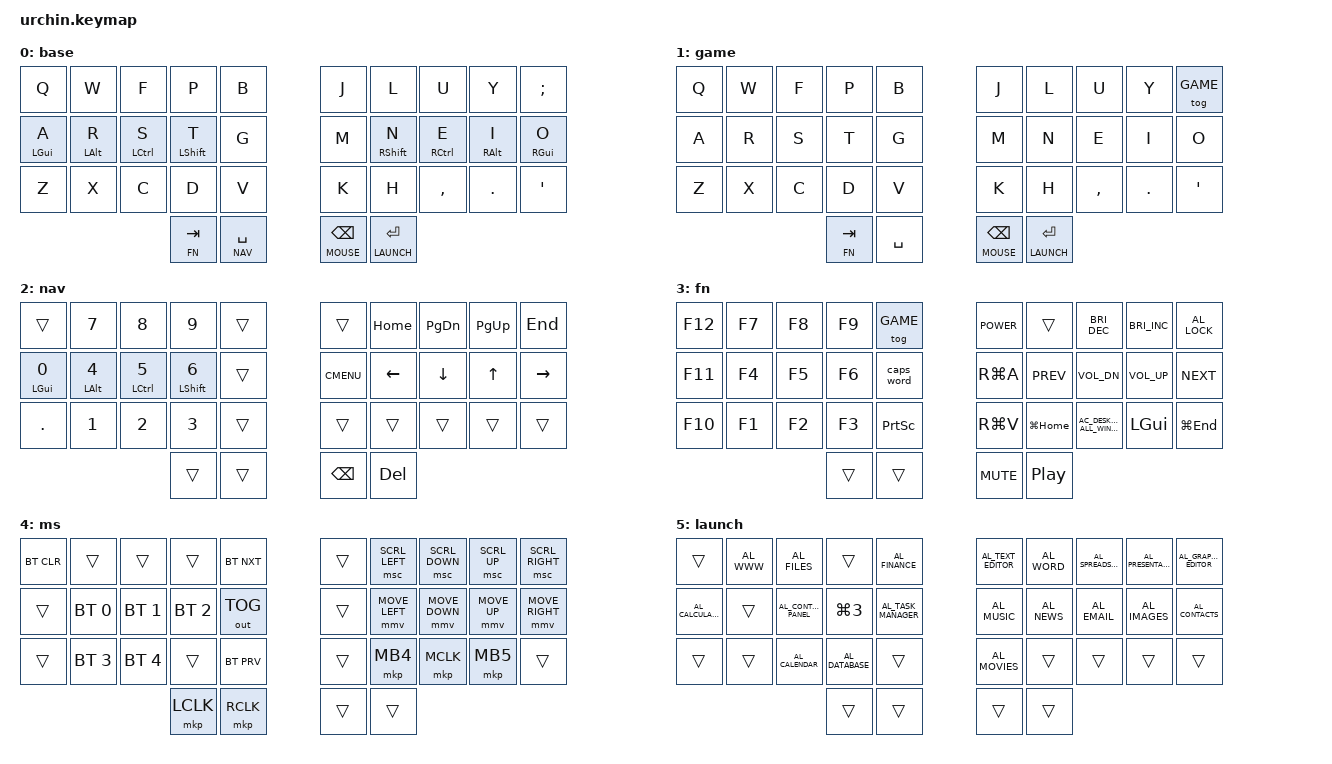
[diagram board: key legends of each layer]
/*
 *
 *     ███████╗████████╗██████╗  █████╗ ████████╗ █████╗ 
 *     ██╔════╝╚══██╔══╝██╔══██╗██╔══██╗╚══██╔══╝██╔══██╗
 *     ███████╗   ██║   ██████╔╝███████║   ██║   ███████║
 *     ╚════██║   ██║   ██╔══██╗██╔══██║   ██║   ██╔══██║
 *     ███████║   ██║   ██║  ██║██║  ██║   ██║   ██║  ██║
 *     ╚══════╝   ╚═╝   ╚═╝  ╚═╝╚═╝  ╚═╝   ╚═╝   ╚═╝  ╚═╝
 *
 * A highly personalised ZMK keymap for a split 34-key keyboard.
 *
 *              ╭───╮                      ╭───╮          
 *          ╭───┤ F ├───╮              ╭───┤ U ├───╮      
 *      ╭───┤ W ├───┤ P ├───╮      ╭───┤ L ├───┤ Y ├───╮  
 *      │ Q ├───┤ S ├───┤ B │      │ J ├───┤ E ├───┤ ; │  
 *      ├───┤ S ├───┤ T ├───┤      ├───┤ N ├───┤ I ├───┤  
 *      │ A ├───┤ C ├───┤ G │      │ M ├───┤ , ├───┤ O │  
 *      ├───┤ X ├───┤ D ├───┤      ├───┤ H ├───┤ . ├───┤  
 *      │ A ├───╯   ╰───┤ V │      │ K ├───╯   ╰───┤ ' │  
 *      ╰───╯           ╰───┘      ╰───╯           ╰───╯  
 *                    ╭───╮          ╭───╮                
 *                    │ 󰌒 ├───╮  ╭───┤ 󰌑 │                
 *                    ╰───┤ 󱁐 │  │ 󰭜 ├───╯                
 *                        ╰───╯  ╰───╯                    
 *
 * This keymap was developed for use on the Ferris Sweep; however,
 * any 34-key keyboard should be able to use this same keymap with
 * only a few small tweaks to the configuration.
 *
 */


#include <behaviors.dtsi>
#include <dt-bindings/zmk/bt.h>
#include <dt-bindings/zmk/keys.h>
#include <dt-bindings/zmk/outputs.h>
#include <dt-bindings/zmk/pointing.h>
#include <dt-bindings/zmk/mouse.h>
#include "zmk-helpers/helper.h"
#include "zmk-helpers/key-labels/34.h"


// Layer definitions
// =================
#define BASE 0
#define GAME 1
#define NAV 2
#define FN 3
#define MOUSE 4
#define LAUNCH 5


/* Key labels
 * ==========
 * ╭─────────────────────╮ ╭─────────────────────╮
 * │ LT4 LT3 LT2 LT1 LT0 │ │ RT0 RT1 RT2 RT3 RT4 │
 * │ LM4 LM3 LM2 LM1 LM0 │ │ RM0 RM1 RM2 RM3 RM4 │
 * │ LB4 LB3 LB2 LB1 LB0 │ │ RB0 RB1 RB2 RB3 RB4 │
 * ╰───────────╮ LH1 LH0 │ │ RH0 RH1 ╭───────────╯
 *             ╰─────────╯ ╰─────────╯
 */


// Custom behaviours
// =================
#define KEYS_LEFT LT0 LT1 LT2 LT3 LT4 LM0 LM1 LM2 LM3 LM4 LB0 LB1 LB2 LB3 LB4   // left hand
#define KEYS_RIGHT RT0 RT1 RT2 RT3 RT4 RM0 RM1 RM2 RM3 RM4 RB0 RB1 RB2 RB3 RB4  // right hand
#define KEYS_THUMBS LH1 LH0 RH0 RH1                                             // thumb clusters

#define MAKE_HRM(NAME, HOLD, TAP, TRIGGER_POS) \
    ZMK_HOLD_TAP(NAME, \
        bindings = <HOLD>, <TAP>; \
        tapping-term-ms = <200>; \
        quick-tap-ms = <200>; \
        require-prior-idle-ms = <125>; \
        flavor = "balanced"; \
        hold-trigger-key-positions = <TRIGGER_POS>; \
        hold-trigger-on-release; \
    )

MAKE_HRM(hrml, &kp, &kp, KEYS_RIGHT KEYS_THUMBS)  // left-hand HRMs
MAKE_HRM(hrmr, &kp, &kp, KEYS_LEFT KEYS_THUMBS)   // right-hand HRMs

// HRM combo hack - workaround for lack of tap-only combos (ZMK issue #544)
#define HRM_COMBO(NAME, HOLD, TAP, KEYPOS, LAYERS, COMBO_TERM, COMBO_IDLE, HOLD_TRIGGER_POS) \
    MAKE_HRM(hrm_combo_ ## NAME, &kp, &kp, HOLD_TRIGGER_POS) \
    ZMK_COMBO(NAME, &hrm_combo_ ## NAME HOLD TAP, KEYPOS, LAYERS, COMBO_TERM, COMBO_IDLE)


// Combo definitions
// =================
// NOTE: This section MUST be AFTER the home row mod hack above

// All the keys in `key-positions` must be pressed within `timeout-ms` milliseconds to trigger the
// combo.
#define COMBO_TIMEOUT_FAST 30
#define COMBO_TIMEOUT_SLOW 60

// If any non-modifier key is pressed within `require-prior-idle-ms` before a key in the combo, the
// combo will not trigger.
#define COMBO_IDLE_LONG 150
#define COMBO_IDLE_SHORT 50

/* Left - Split combos
 *   Copy        󰈆  Escape        Paste
 * ┌─┬▄┬─┬▄┬─┐    ┌─┬─┬─┬─┬─┐    ┌─┬─┬─┬─┬─┐
 * ├─┼▀┼─┼▀┼─┤    ├─┼▄┼─┼▄┼─┤    ├─┼─┼─┼─┼─┤
 * ├─┼─┼─┼─┼─┤    ├─┼▀┼─┼▀┼─┤    ├─┼▄┼─┼▄┼─┤
 * └─┴─┴─┴─┴─┘    └─┴─┴─┴─┴─┘    └─┴▀┴─┴▀┴─┘
 *        ┌─┬─┐          ┌─┬─┐          ┌─┬─┐
 *        └─┴─┘          └─┴─┘          └─┴─┘
 */
ZMK_COMBO(copy, &kp C_AC_COPY, LT1 LT3, ALL, COMBO_TIMEOUT_SLOW, COMBO_IDLE_SHORT)
ZMK_COMBO(paste, &kp C_AC_PASTE, LB1 LB3, ALL, COMBO_TIMEOUT_SLOW, COMBO_IDLE_SHORT)
HRM_COMBO(escape, LS(LALT), ESCAPE, LM1 LM3, ALL, COMBO_TIMEOUT_SLOW, COMBO_IDLE_SHORT, KEYS_RIGHT)

/* Left - Horizontal combos
 * ~ Tilde        ` Grave        _ Underscore   - Minus        + Plus         = Equal    
 * ┌─┬▄┬▄┬─┬─┐    ┌─┬─┬▄┬▄┬─┐    ┌─┬─┬─┬─┬─┐    ┌─┬─┬─┬─┬─┐    ┌─┬─┬─┬─┬─┐    ┌─┬─┬─┬─┬─┐ 
 * ├─┼▀┼▀┼─┼─┤    ├─┼─┼▀┼▀┼─┤    ├─┼▄┼▄┼─┼─┤    ├─┼─┼▄┼▄┼─┤    ├─┼─┼─┼─┼─┤    ├─┼─┼─┼─┼─┤ 
 * ├─┼─┼─┼─┼─┤    ├─┼─┼─┼─┼─┤    ├─┼▀┼▀┼─┼─┤    ├─┼─┼▀┼▀┼─┤    ├─┼▄┼▄┼─┼─┤    ├─┼─┼▄┼▄┼─┤ 
 * └─┴─┴─┴─┴─┘    └─┴─┴─┴─┴─┘    └─┴─┴─┴─┴─┘    └─┴─┴─┴─┴─┘    └─┴▀┴▀┴─┴─┘    └─┴─┴▀┴▀┴─┘ 
 *        ┌─┬─┐          ┌─┬─┐          ┌─┬─┐          ┌─┬─┐          ┌─┬─┐          ┌─┬─┐
 *        └─┴─┘          └─┴─┘          └─┴─┘          └─┴─┘          └─┴─┘          └─┴─┘
 */
ZMK_COMBO(tilde, &kp TILDE, LT2 LT3, BASE NAV GAME, COMBO_TIMEOUT_FAST, COMBO_IDLE_LONG)
ZMK_COMBO(grave, &kp GRAVE, LT1 LT2, BASE NAV GAME, COMBO_TIMEOUT_FAST, COMBO_IDLE_LONG)
ZMK_COMBO(plus, &kp PLUS, LB2 LB3, BASE NAV GAME, COMBO_TIMEOUT_FAST, COMBO_IDLE_LONG)
ZMK_COMBO(equal, &kp EQUAL, LB1 LB2, BASE NAV GAME, COMBO_TIMEOUT_FAST, COMBO_IDLE_LONG)
HRM_COMBO(underscore, LC(LALT), UNDERSCORE, LM2 LM3, BASE NAV GAME, COMBO_TIMEOUT_FAST, COMBO_IDLE_LONG, KEYS_RIGHT)
HRM_COMBO(minus, LS(LCTRL), MINUS, LM1 LM2, BASE NAV GAME, COMBO_TIMEOUT_FAST, COMBO_IDLE_LONG, KEYS_RIGHT)

/* Left - Vertical combos
 * # Hash         $ Dollar       ? Question     / Fslash       ! Exclamation  @ At    
 * ┌─┬─┬─┬▄┬─┐    ┌─┬─┬─┬─┬─┐    ┌─┬─┬▄┬─┬─┐    ┌─┬─┬─┬─┬─┐    ┌─┬▄┬─┬─┬─┐    ┌─┬─┬─┬─┬─┐ 
 * ├─┼─┼─┼█┼─┤    ├─┼─┼─┼▄┼─┤    ├─┼─┼█┼─┼─┤    ├─┼─┼▄┼─┼─┤    ├─┼█┼─┼─┼─┤    ├─┼▄┼─┼─┼─┤ 
 * ├─┼─┼─┼▀┼─┤    ├─┼─┼─┼█┼─┤    ├─┼─┼▀┼─┼─┤    ├─┼─┼█┼─┼─┤    ├─┼▀┼─┼─┼─┤    ├─┼█┼─┼─┼─┤ 
 * └─┴─┴─┴─┴─┘    └─┴─┴─┴▀┴─┘    └─┴─┴─┴─┴─┘    └─┴─┴▀┴─┴─┘    └─┴─┴─┴─┴─┘    └─┴▀┴─┴─┴─┘ 
 *        ┌─┬─┐          ┌─┬─┐          ┌─┬─┐          ┌─┬─┐          ┌─┬─┐          ┌─┬─┐
 *        └─┴─┘          └─┴─┘          └─┴─┘          └─┴─┘          └─┴─┘          └─┴─┘
 */
ZMK_COMBO(exclamation, &kp EXCLAMATION, LM3 LT3, BASE NAV GAME, COMBO_TIMEOUT_SLOW, COMBO_IDLE_SHORT)
ZMK_COMBO(question, &kp QUESTION, LM2 LT2, BASE NAV GAME, COMBO_TIMEOUT_SLOW, COMBO_IDLE_SHORT)
ZMK_COMBO(hash, &kp HASH, LM1 LT1, BASE NAV GAME, COMBO_TIMEOUT_SLOW, COMBO_IDLE_SHORT)
ZMK_COMBO(at, &kp AT, LB3 LM3, BASE NAV GAME, COMBO_TIMEOUT_SLOW, COMBO_IDLE_SHORT)
ZMK_COMBO(fslash, &kp FSLH, LB2 LM2, BASE NAV GAME, COMBO_TIMEOUT_SLOW, COMBO_IDLE_SHORT)
ZMK_COMBO(dollar, &kp DOLLAR, LB1 LM1, BASE NAV GAME, COMBO_TIMEOUT_SLOW, COMBO_IDLE_SHORT)

/* Right - Split combos
 *   Cut            Undo          Redo
 *  ┌─┬▄┬─┬▄┬─┐    ┌─┬─┬─┬─┬─┐    ┌─┬─┬─┬─┬─┐
 *  ├─┼▀┼─┼▀┼─┤    ├─┼▄┼─┼▄┼─┤    ├─┼─┼─┼─┼─┤
 *  ├─┼─┼─┼─┼─┤    ├─┼▀┼─┼▀┼─┤    ├─┼▄┼─┼▄┼─┤
 *  └─┴─┴─┴─┴─┘    └─┴─┴─┴─┴─┘    └─┴▀┴─┴▀┴─┘
 * ┌─┬─┐          ┌─┬─┐          ┌─┬─┐
 * └─┴─┘          └─┴─┘          └─┴─┘
 */
ZMK_COMBO(cut, &kp C_AC_CUT, RT1 RT3, ALL, COMBO_TIMEOUT_SLOW, COMBO_IDLE_SHORT)
ZMK_COMBO(redo, &kp C_AC_REDO, RB1 RB3, ALL, COMBO_TIMEOUT_SLOW, COMBO_IDLE_SHORT)
HRM_COMBO(undo, RS(RALT), C_AC_UNDO, RM1 RM3, ALL, COMBO_TIMEOUT_SLOW, COMBO_IDLE_SHORT, KEYS_LEFT)

/* Right - Horizontal combos
 * [ L bracket    ] R bracket    ( L paren      ) R paren      { L curly      } R curly    
 *  ┌─┬▄┬▄┬─┬─┐    ┌─┬─┬▄┬▄┬─┐    ┌─┬─┬─┬─┬─┐    ┌─┬─┬─┬─┬─┐    ┌─┬─┬─┬─┬─┐    ┌─┬─┬─┬─┬─┐ 
 *  ├─┼▀┼▀┼─┼─┤    ├─┼─┼▀┼▀┼─┤    ├─┼▄┼▄┼─┼─┤    ├─┼─┼▄┼▄┼─┤    ├─┼─┼─┼─┼─┤    ├─┼─┼─┼─┼─┤ 
 *  ├─┼─┼─┼─┼─┤    ├─┼─┼─┼─┼─┤    ├─┼▀┼▀┼─┼─┤    ├─┼─┼▀┼▀┼─┤    ├─┼▄┼▄┼─┼─┤    ├─┼─┼▄┼▄┼─┤ 
 *  └─┴─┴─┴─┴─┘    └─┴─┴─┴─┴─┘    └─┴─┴─┴─┴─┘    └─┴─┴─┴─┴─┘    └─┴▀┴▀┴─┴─┘    └─┴─┴▀┴▀┴─┘ 
 * ┌─┬─┐          ┌─┬─┐          ┌─┬─┐          ┌─┬─┐          ┌─┬─┐          ┌─┬─┐
 * └─┴─┘          └─┴─┘          └─┴─┘          └─┴─┘          └─┴─┘          └─┴─┘
 */
ZMK_COMBO(lbracket,    &kp LEFT_BRACKET,      RT1 RT2,      BASE NAV GAME,  COMBO_TIMEOUT_FAST,  COMBO_IDLE_LONG)
ZMK_COMBO(rbracket,    &kp RIGHT_BRACKET,     RT2 RT3,      BASE NAV GAME,  COMBO_TIMEOUT_FAST,  COMBO_IDLE_LONG)
ZMK_COMBO(lbrace,      &kp LEFT_BRACE,        RB1 RB2,      BASE NAV GAME,  COMBO_TIMEOUT_FAST,  COMBO_IDLE_LONG)
ZMK_COMBO(rbrace,      &kp RIGHT_BRACE,       RB2 RB3,      BASE NAV GAME,  COMBO_TIMEOUT_FAST,  COMBO_IDLE_LONG)
HRM_COMBO(lpar,        RS(RCTRL), LPAR,       RM1 RM2,      BASE NAV GAME,  COMBO_TIMEOUT_FAST,  COMBO_IDLE_LONG,   KEYS_LEFT)
HRM_COMBO(rpar,        RC(RALT),  RPAR,       RM2 RM3,      BASE NAV GAME,  COMBO_TIMEOUT_FAST,  COMBO_IDLE_LONG,   KEYS_LEFT)

/* Right - Vertical combos
 * & Ampersand    * Asterisk     | Pipe         \ Bslash       % Percent      ^ Caret
 *  ┌─┬─┬─┬▄┬─┐    ┌─┬─┬─┬─┬─┐    ┌─┬─┬▄┬─┬─┐    ┌─┬─┬─┬─┬─┐    ┌─┬▄┬─┬─┬─┐    ┌─┬─┬─┬─┬─┐ 
 *  ├─┼─┼─┼█┼─┤    ├─┼─┼─┼▄┼─┤    ├─┼─┼█┼─┼─┤    ├─┼─┼▄┼─┼─┤    ├─┼█┼─┼─┼─┤    ├─┼▄┼─┼─┼─┤ 
 *  ├─┼─┼─┼▀┼─┤    ├─┼─┼─┼█┼─┤    ├─┼─┼▀┼─┼─┤    ├─┼─┼█┼─┼─┤    ├─┼▀┼─┼─┼─┤    ├─┼█┼─┼─┼─┤ 
 *  └─┴─┴─┴─┴─┘    └─┴─┴─┴▀┴─┘    └─┴─┴─┴─┴─┘    └─┴─┴▀┴─┴─┘    └─┴─┴─┴─┴─┘    └─┴▀┴─┴─┴─┘ 
 * ┌─┬─┐          ┌─┬─┐          ┌─┬─┐          ┌─┬─┐          ┌─┬─┐          ┌─┬─┐
 * └─┴─┘          └─┴─┘          └─┴─┘          └─┴─┘          └─┴─┘          └─┴─┘
 */
ZMK_COMBO(percent,     &kp PERCENT,           RT1 RM1,      BASE NAV GAME,  COMBO_TIMEOUT_SLOW,  COMBO_IDLE_SHORT)
ZMK_COMBO(pipe,        &kp PIPE,              RT2 RM2,      BASE NAV GAME,  COMBO_TIMEOUT_SLOW,  COMBO_IDLE_SHORT)
ZMK_COMBO(ampersand,   &kp AMPERSAND,         RT3 RM3,      BASE NAV GAME,  COMBO_TIMEOUT_SLOW,  COMBO_IDLE_SHORT)
ZMK_COMBO(caret,       &kp CARET,             RM1 RB1,      BASE NAV GAME,  COMBO_TIMEOUT_SLOW,  COMBO_IDLE_SHORT)
ZMK_COMBO(bslash,      &kp BSLH,              RM2 RB2,      BASE NAV GAME,  COMBO_TIMEOUT_SLOW,  COMBO_IDLE_SHORT)
ZMK_COMBO(asterisk,    &kp ASTERISK,          RM3 RB3,      BASE NAV GAME,  COMBO_TIMEOUT_SLOW,  COMBO_IDLE_SHORT)


// Mouse
// =====
#include "mouse.dtsi"


/*
 * Base Layer
 * ==========
 * ┌───┬───┬───┬───┬───┐      ┌───┬───┬───┬───┬───┐
 * │ Q │ W │ F │ P │ B │      │ J │ L │ U │ Y │ ; │
 * ├───┼───┼───┼───┼───┤      ├───┼───┼───┼───┼───┤
 * │ A │ R │ S │ T │ G │      │ M │ N │ E │ I │ O │
 * ├───┼───┼───┼───┼───┤      ├───┼───┼───┼───┼───┤
 * │ Z │ X │ C │ D │ V │      │ K │ H │ , │ . │ ' │
 * └───┴───┴───┴───┴───┘      └───┴───┴───┴───┴───┘
 *               ┌───┬───┐  ┌───┬───┐            
 *               │ 󰌒 │ 󱁐 │  │ 󰭜 │ 󰌑 │            
 *               └───┴───┘  └───┴───┘            
 */
ZMK_LAYER(base,
    &kp Q         &kp W         &kp F          &kp P           &kp B            &kp J                &kp L                 &kp U          &kp Y         &kp SEMI
    &hrml LGUI A  &hrml LALT R  &hrml LCTRL S  &hrml LSHIFT T  &kp G            &kp M                &hrmr RSHIFT N        &hrmr RCTRL E  &hrmr RALT I  &hrmr RGUI O
    &kp Z         &kp X         &kp C          &kp D           &kp V            &kp K                &kp H                 &kp COMMA      &kp DOT       &kp SQT
                                               &lt FN TAB      &lt NAV SPACE    &lt MOUSE BACKSPACE  &lt LAUNCH RETURN
)

/*
 * Game Layer
 * ==========
 * ┌───┬───┬───┬───┬───┐      ┌───┬───┬───┬───┬───┐
 * │ Q │ W │ F │ P │ B │      │ J │ L │ U │ Y │ 󰈆 │
 * ├───┼───┼───┼───┼───┤      ├───┼───┼───┼───┼───┤
 * │ A │ R │ S │ T │ G │      │ M │ N │ E │ I │ O │
 * ├───┼───┼───┼───┼───┤      ├───┼───┼───┼───┼───┤
 * │ Z │ X │ C │ D │ V │      │ K │ H │ , │ . │ ' │
 * └───┴───┴───┴───┴───┘      └───┴───┴───┴───┴───┘
 *               ┌───┬───┐  ┌───┬───┐            
 *               │ 󰌒 │ 󱁐 │  │ 󰭜 │ 󰌑 │            
 *               └───┴───┘  └───┴───┘            
 */
ZMK_LAYER(game,
    &kp Q  &kp W  &kp F  &kp P       &kp B        &kp J                &kp L              &kp U      &kp Y    &tog GAME
    &kp A  &kp R  &kp S  &kp T       &kp G        &kp M                &kp N              &kp E      &kp I    &kp O
    &kp Z  &kp X  &kp C  &kp D       &kp V        &kp K                &kp H              &kp COMMA  &kp DOT  &kp SQT
                         &lt FN TAB  &kp SPACE    &lt MOUSE BACKSPACE  &lt LAUNCH RETURN
)

/*
 * Navigation/Number Layer
 * =======================
 * ┌───┬───┬───┬───┬───┐      ┌───┬───┬───┬───┬───┐
 * │   │ 7 │ 8 │ 9 │   │      │   │  │  │  │  │
 * ├───┼───┼───┼───┼───┤      ├───┼───┼───┼───┼───┤
 * │ 0 │ 4 │ 5 │ 6 │   │      │ 󰮫 │  │  │  │  │
 * ├───┼───┼───┼───┼───┤      ├───┼───┼───┼───┼───┤
 * │ . │ 1 │ 2 │ 3 │   │      │   │   │   │   │   │
 * └───┴───┴───┴───┴───┘      └───┴───┴───┴───┴───┘
 *               ┌───┬───┐  ┌───┬───┐            
 *               │   │  │  │ 󰭜 │ 󰹿 │            
 *               └───┴───┘  └───┴───┘            
 */
ZMK_LAYER(nav,
    &trans          &kp N7         &kp N8          &kp N9           &trans  &trans         &kp HOME       &kp PG_DN     &kp PG_UP  &kp END
    &hrml LGUI N0   &hrml LALT N4  &hrml LCTRL N5  &hrml LSHIFT N6  &trans  &kp K_CMENU    &kp LEFT       &kp DOWN      &kp UP     &kp RIGHT
    &kp DOT         &kp N1         &kp N2          &kp N3           &trans  &trans         &trans         &trans        &trans     &trans
                                                   &trans           &trans  &kp BACKSPACE  &kp DELETE
)

/*
 * Function/Media Layer
 * ====================
 * ┌───┬───┬───┬───┬───┐      ┌───┬───┬───┬───┬───┐
 * │ 󱊶 │ 󱊱 │ 󱊲 │ 󱊳 │  │      │ ⏻ │   │ 󰃞 │ 󰃠 │  │
 * ├───┼───┼───┼───┼───┤      ├───┼───┼───┼───┼───┤
 * │ 󱊵 │ 󱊮 │ 󱊯 │ 󱊰 │ 󰘲 │      │  │  │  │  │  │
 * ├───┼───┼───┼───┼───┤      ├───┼───┼───┼───┼───┤
 * │ 󱊴 │ 󱊫 │ 󱊬 │ 󱊭 │  │      │  │  │  │  │  │
 * └───┴───┴───┴───┴───┘      └───┴───┴───┴───┴───┘
 *               ┌───┬───┐  ┌───┬───┐            
 *               │  │   │  │  │ 󰐎 │            
 *               └───┴───┘  └───┴───┘            
 */
ZMK_LAYER(fn,
    &kp F12  &kp F7  &kp F8  &kp F9  &tog GAME     &kp C_POWER  &trans            &kp C_BRIGHTNESS_DEC               &kp C_BRIGHTNESS_INC  &kp C_AL_LOCK
    &kp F11  &kp F4  &kp F5  &kp F6  &caps_word    &kp RG(A)    &kp C_PREV        &kp C_VOL_DN                       &kp C_VOL_UP          &kp C_NEXT
    &kp F10  &kp F1  &kp F2  &kp F3  &kp PSCRN     &kp RG(V)    &kp LG(HOME)      &kp C_AC_DESKTOP_SHOW_ALL_WINDOWS  &kp LGUI              &kp LG(END)
                             &trans  &trans        &kp C_MUTE   &kp C_PLAY_PAUSE
)

/*
 * Connectivity/Mouse Layer
 * ========================
 * ┌───┬───┬───┬───┬───┐      ┌───┬───┬───┬───┬───┐
 * │  │   │   │   │ 󰮱 │      │   │  │  │  │  │
 * ├───┼───┼───┼───┼───┤      ├───┼───┼───┼───┼───┤
 * │   │ 1 │ 2 │ 3 │ 󰂱 │      │   │  │  │  │  │
 * ├───┼───┼───┼───┼───┤      ├───┼───┼───┼───┼───┤
 * │   │ 4 │ 5 │   │ 󰮳 │      │   │  │ 󰠳 │  │   │
 * └───┴───┴───┴───┴───┘      └───┴───┴───┴───┴───┘
 *               ┌───┬───┐  ┌───┬───┐            
 *               │ 󰳽 │ 󰮫 │  │  │   │            
 *               └───┴───┘  └───┴───┘            
 */
#define ZMK_MOUSE_DEFAULT_MOVE_VAL 1500  // 600
#define ZMK_MOUSE_DEFAULT_SCRL_VAL 20    // 10

// Config from @caksoylar, defaults in comments
&mmv {
  acceleration-exponent = <2>;      // 1
  time-to-max-speed-ms = <300>;     // 300
  delay-ms = <0>;                   // 0
};

&msc {
  acceleration-exponent = <2>;      // 0
  time-to-max-speed-ms = <40>;      // 300
  delay-ms = <0>;                   // 0
};

ZMK_LAYER(ms,
    &bt BT_CLR   &trans        &trans        &trans        &bt BT_NXT      &trans  &msc SCRL_LEFT  &msc SCRL_DOWN  &msc SCRL_UP  &msc SCRL_RIGHT
    &trans       &bt BT_SEL 0  &bt BT_SEL 1  &bt BT_SEL 2  &out OUT_TOG    &trans  &mmv MOVE_LEFT  &mmv MOVE_DOWN  &mmv MOVE_UP  &mmv MOVE_RIGHT
    &trans       &bt BT_SEL 3  &bt BT_SEL 4  &trans        &bt BT_PRV      &trans  &mkp MB4        &mkp MCLK       &mkp MB5      &trans
                                             &mkp LCLK     &mkp RCLK       &trans  &trans
)

/*
 * Launch Layer
 * ============
 * ┌───┬───┬───┬───┬───┐      ┌───┬───┬───┬───┬───┐
 * │   │  │  │  │  │      │  │ 󰧮 │  │ 󰐨 │  │
 * ├───┼───┼───┼───┼───┤      ├───┼───┼───┼───┼───┤
 * │ 󰃬 │   │  │  │  │      │  │  │  │  │ 󰖸 │
 * ├───┼───┼───┼───┼───┤      ├───┼───┼───┼───┼───┤
 * │   │   │  │  │   │      │ 󰿏 │   │   │   │   │
 * └───┴───┴───┴───┴───┘      └───┴───┴───┴───┴───┘
 *               ┌───┬───┐  ┌───┬───┐            
 *               │   │   │  │   │  │            
 *               └───┴───┘  └───┴───┘            
 */
ZMK_LAYER(launch,
    &trans               &kp C_AL_WWW  &kp C_AL_FILES          &trans             &kp C_AL_FINANCE             &kp C_AL_TEXT_EDITOR  &kp C_AL_WORD  &kp C_AL_SPREADSHEET  &kp C_AL_PRESENTATION  &kp C_AL_GRAPHICS_EDITOR
    &kp C_AL_CALCULATOR  &trans        &kp C_AL_CONTROL_PANEL  &kp LG(3)          &kp C_AL_TASK_MANAGER        &kp C_AL_MUSIC        &kp C_AL_NEWS  &kp C_AL_EMAIL        &kp C_AL_IMAGES        &kp C_AL_CONTACTS
    &trans               &trans        &kp C_AL_CALENDAR       &kp C_AL_DATABASE  &trans                       &kp C_AL_MOVIES       &trans         &trans                &trans                 &trans
                                                               &trans             &trans                       &trans                &trans
)

